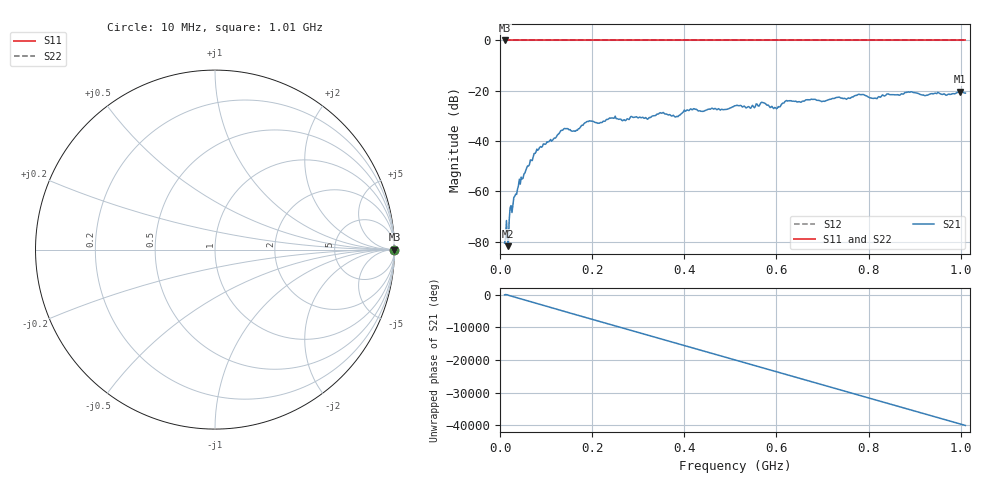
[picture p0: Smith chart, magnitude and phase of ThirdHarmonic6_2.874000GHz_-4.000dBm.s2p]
! 8/17/2025 7:51:45 AM
! C:\ANRITSUVNA\TEMP\TEMP.S2P
! CHANNEL.1
! TR.MEASUREMENT
! RAW.DATA
! RF.CORRECTION.OFF
! AVERAGING.OFF
! IF.BANDWIDTH: 5KHZ
! SWEEPTYPE:  FREQ.SWEEP(Linear)
! Reference Plane Port Info
! PORT:  PORT1  PORT2
! DISTANCE:  0  m  0  m
! TIME:  0  s  0  s
! PHASE.OFFSET:  0  deg.  0  deg.
! LOSS:  0  dB  0  dB
! REF.LOSS:  0  dB  0  dB
! REF.FREQ:  0  Hz  0  Hz
! Power Info
! POWER:  -20  dBm  -20  dBm
! EFF.POWER:  -20  dBm  -20  dBm
! SOURCE.ATTEN:  0  dB  0  dB
! TEST.ATTEN:  0  dB  0  dB
# GHZ S RI R 50.0
! FREQ.GHZ  S11RE  S11IM  S21RE  S21IM  S12RE  S12IM  S22RE  S22IM
!; PortSelection: Port_12
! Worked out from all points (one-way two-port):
!   501 points, 10 MHz to 1.01 GHz, reference 50 ohm
!   highest |S21| = -20.33 dB at 998 MHz (marker M1); lowest = -81.8 dB at 18 MHz (marker M2)
!   lowest |S11| = 0.0 dB at 10 MHz (marker M3)
!   |S11| at or under -10 dB: nowhere
!   |S22| runs from 0.0 to 0.0 dB; largest |S21 - S12| = 1.1
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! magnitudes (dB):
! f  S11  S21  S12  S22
! 10 MHz  0.0  -80.6  0.0  0.0
! 14 MHz  0.0  -71.6  0.0  0.0
! 18 MHz  0.0  -81.8  0.0  0.0
! 26 MHz  0.0  -68.4  0.0  0.0
! 42 MHz  0.0  -55.2  0.0  0.0
! 78 MHz  0.0  -44.4  0.0  0.0
! 136 MHz  0.0  -35.7  0.0  0.0
! 164 MHz  0.0  -36.0  0.0  0.0
! 178 MHz  0.0  -33.7  0.0  0.0
! 192 MHz  0.0  -32.2  0.0  0.0
! 322 MHz  0.0  -31.1  0.0  0.0
! 344 MHz  0.0  -29.2  0.0  0.0
! 382 MHz  0.0  -30.4  0.0  0.0
! 416 MHz  0.0  -27.5  0.0  0.0
! 510 MHz  0.0  -26.0  0.0  0.0
! 570 MHz  0.0  -24.7  0.0  0.0
! 598 MHz  0.0  -26.8  0.0  0.0
! 622 MHz  0.0  -23.9  0.0  0.0
! 678 MHz  0.0  -23.4  0.0  0.0
! 844 MHz  0.0  -21.4  0.0  0.0
! 998 MHz  0.0  -20.3  0.0  0.0
! 1.01 GHz  0.0  -20.9  0.0  0.0
